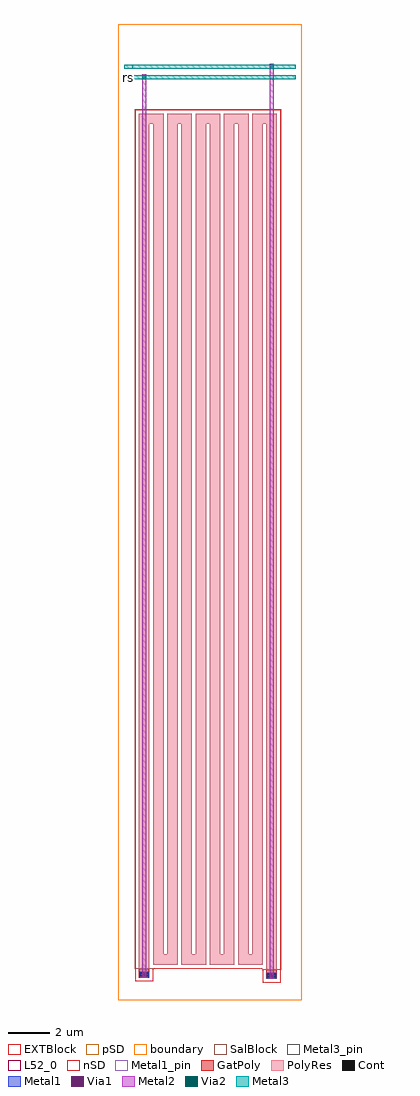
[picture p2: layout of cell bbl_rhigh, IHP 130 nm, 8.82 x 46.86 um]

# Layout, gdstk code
import gdstk
lib = gdstk.Library(unit=1e-6, precision=1e-09)
def R(c, l, rs):  # rectangles x0, y0, x1, y1
    for r in rs: c.add(gdstk.rectangle(r[:2], r[2:], *l))
def A(c, l, x, y, w, h, nx, ny, dx, dy):  # array of equal rectangles
    R(c, l, [(x+i*dx, y+j*dy, x+i*dx+w, y+j*dy+h) for i in range(nx) for j in range(ny)])
GatPoly = (5, 0)
Cont = (6, 0)
nSD = (7, 0)
Metal1 = (8, 0)
Metal1_pin = (8, 2)
Metal2 = (10, 0)
pSD = (14, 0)
Via1 = (19, 0)
SalBlock = (28, 0)
Via2 = (29, 0)
Metal3 = (30, 0)
Metal3_pin = (30, 2)
L52_0 = (52, 0)
EXTBlock = (111, 0)
PolyRes = (128, 0)
boundary = (189, 4)

rhigh = lib.new_cell('rhigh')
R(rhigh, GatPoly, [(6.12,-0.48,6.62,-0.05), (0,-0.43,0.5,0)])
R(rhigh, Cont, [(6.19,-0.41,6.55,-0.25), (0.07,-0.36,0.43,-0.2)])
R(rhigh, nSD, [(5.94,-0.66,6.8,0.13), (-0.18,-0.61,0.68,0.18), (5.94,-0.05,6.8,0), (5.94,-0.05,6.8,40.555), (-0.18,0,6.8,41.235), (-0.18,0,0.68,40.555)])
R(rhigh, Metal1, [(6.14,-0.46,6.6,-0.2), (0.02,-0.41,0.48,-0.15)])
R(rhigh, Metal1_pin, [(6.14,-0.46,6.6,-0.2), (0.02,-0.41,0.48,-0.15)])
R(rhigh, pSD, [(5.94,-0.66,6.8,0.13), (-0.18,-0.61,0.68,0.18), (5.94,-0.05,6.8,0), (5.94,-0.05,6.8,40.555), (-0.18,0,6.8,41.235), (-0.18,0,0.68,40.555)])
R(rhigh, SalBlock, [(5.92,-0.05,6.82,0), (-0.2,0,6.82,41.255)])
A(rhigh, L52_0, 0.68, 0.2, 1.18, 0.5, 4, 1, 1.36, 0)
A(rhigh, L52_0, 0.68, 0.7, 0.5, 39.855, 8, 1, 0.68, 0)
A(rhigh, L52_0, 0, 40.555, 1.18, 0.5, 5, 1, 1.36, 0)
R(rhigh, L52_0, [(6.12,-0.05,6.62,40.555), (0,0,0.5,40.555)])
R(rhigh, EXTBlock, [(5.94,-0.66,6.8,0.13), (-0.18,-0.61,0.68,0.18), (5.92,-0.05,6.82,0), (-0.2,0,6.82,41.255)])
A(rhigh, PolyRes, 0.68, 0.2, 1.18, 0.5, 4, 1, 1.36, 0)
A(rhigh, PolyRes, 0.68, 0.7, 0.5, 39.855, 8, 1, 0.68, 0)
A(rhigh, PolyRes, 0, 40.555, 1.18, 0.5, 5, 1, 1.36, 0)
R(rhigh, PolyRes, [(6.12,-0.05,6.62,40.555), (0,0,0.5,40.555)])
rhigh.add(gdstk.Label('rhigh r=1200950.693', (0.25,19.928), layer=63, texttype=0))
rhigh.add(gdstk.Label('rhigh', (0.25,20.278), layer=52, texttype=0))
rhigh.add(gdstk.Label('rhigh', (0.59,40.805), layer=52, texttype=0))
rhigh.add(gdstk.Label('rhigh', (0.93,20.628), layer=52, texttype=0))
rhigh.add(gdstk.Label('rhigh', (1.27,0.45), layer=52, texttype=0))
rhigh.add(gdstk.Label('rhigh', (1.61,20.628), layer=52, texttype=0))
rhigh.add(gdstk.Label('rhigh', (1.95,40.805), layer=52, texttype=0))
rhigh.add(gdstk.Label('rhigh', (2.29,20.628), layer=52, texttype=0))
rhigh.add(gdstk.Label('rhigh', (2.63,0.45), layer=52, texttype=0))
rhigh.add(gdstk.Label('rhigh', (2.97,20.628), layer=52, texttype=0))
rhigh.add(gdstk.Label('rhigh', (3.31,40.805), layer=52, texttype=0))
rhigh.add(gdstk.Label('rhigh', (3.65,20.628), layer=52, texttype=0))
rhigh.add(gdstk.Label('rhigh', (3.99,0.45), layer=52, texttype=0))
rhigh.add(gdstk.Label('rhigh', (4.33,20.628), layer=52, texttype=0))
rhigh.add(gdstk.Label('rhigh', (4.67,40.805), layer=52, texttype=0))
rhigh.add(gdstk.Label('rhigh', (5.01,20.628), layer=52, texttype=0))
rhigh.add(gdstk.Label('rhigh', (5.35,0.45), layer=52, texttype=0))
rhigh.add(gdstk.Label('rhigh', (5.69,20.628), layer=52, texttype=0))
rhigh.add(gdstk.Label('rhigh', (6.03,40.805), layer=52, texttype=0))
rhigh.add(gdstk.Label('rhigh', (6.37,20.252), layer=52, texttype=0))

bbl_rhigh = lib.new_cell('bbl_rhigh')
R(bbl_rhigh, Metal1, [(7.14,1.025,7.6,1.315), (1.02,1.075,1.48,1.365)])
R(bbl_rhigh, Metal2, [(7.27,1.025,7.47,44.95), (1.15,1.075,1.35,44.45)])
R(bbl_rhigh, Via1, [(7.275,1.075,7.465,1.265), (1.155,1.125,1.345,1.315)])
R(bbl_rhigh, Via2, [(1.155,44.21,1.345,44.4), (7.275,44.71,7.465,44.9)])
R(bbl_rhigh, Metal3, [(0.3,44.205,8.52,44.405), (0.3,44.705,8.52,44.905)])
R(bbl_rhigh, Metal3_pin, [(0.3,44.205,0.7,44.405), (0.3,44.705,0.7,44.905)])
R(bbl_rhigh, boundary, [(0,0,8.82,46.855)])
bbl_rhigh.add(gdstk.Reference(rhigh, (1,1.5)))
bbl_rhigh.add(gdstk.Label('rs', (0.5,44.305), layer=30, texttype=25))
bbl_rhigh.add(gdstk.Label('sb', (0.5,44.805), layer=30, texttype=25))

lib.write_gds('bbl_rhigh.gds')
